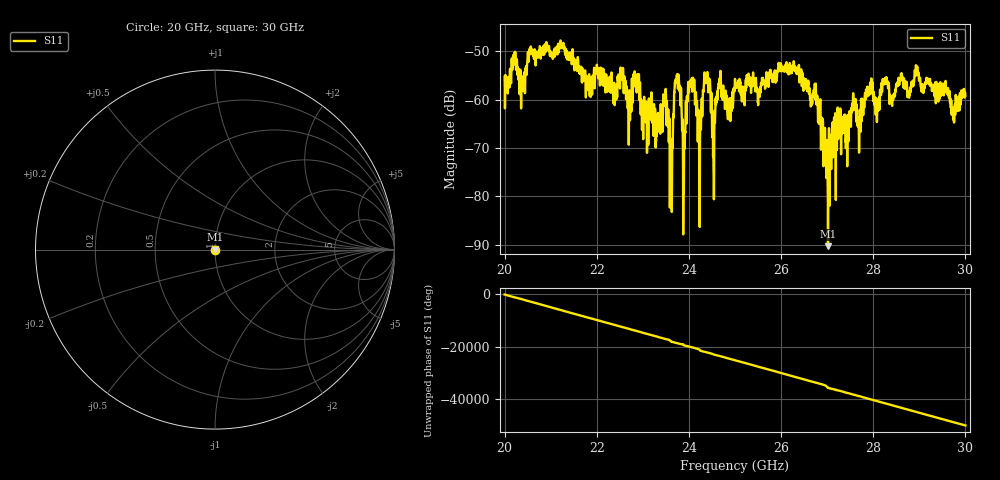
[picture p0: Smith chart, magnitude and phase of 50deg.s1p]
#  HZ  S  RI  R  50.00
! Rohde & Schwarz ZVA40 4Ports - Version 3.90 - 1145.1110k42 SN: 100403
! Date: 2023-10-03 10:47:09
! Measurement: S12
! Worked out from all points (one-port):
!   5001 points, 20 GHz to 30 GHz, reference 50 ohm
!   lowest |S11| = -90.3 dB at 27.02 GHz (marker M1), VSWR 1.00, Z = 50 + j0.00177 ohm
!   |S11| at or under -10 dB: start of sweep to end of sweep
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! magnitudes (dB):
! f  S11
! 20 GHz  -55.3
! 21.25 GHz  -49.3
! 21.85 GHz  -58.5
! 22.5 GHz  -56.3
! 22.71 GHz  -58.1
! 22.87 GHz  -56.9
! 23.32 GHz  -63.0
! 23.49 GHz  -59.7
! 23.61 GHz  -73.2
! 23.75 GHz  -54.8
! 23.9 GHz  -68.1
! 24.04 GHz  -57.1
! 24.21 GHz  -66.9
! 24.37 GHz  -56.6
! 24.52 GHz  -71.7
! 24.65 GHz  -56.6
! 24.88 GHz  -59.7
! 25 GHz  -55.7
! 26.25 GHz  -53.1
! 26.74 GHz  -59.7
! 27.02 GHz  -90.3
! 27.24 GHz  -64.7
! 27.5 GHz  -64.4
! 28.25 GHz  -56.1
! 28.75 GHz  -58.9
! 28.94 GHz  -54.3
! 29.73 GHz  -63.5
! 30 GHz  -59.2
